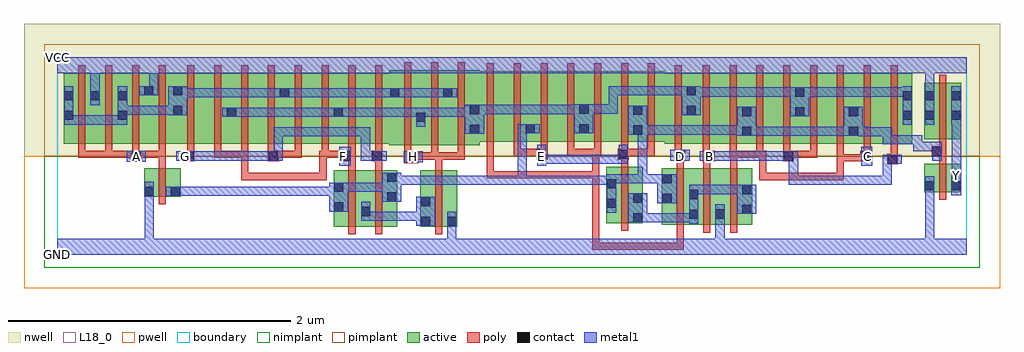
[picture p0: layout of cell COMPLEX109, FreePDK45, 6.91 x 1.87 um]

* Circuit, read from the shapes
.subckt COMPLEX109 A B C D E F G GND H VCC Y
M1 n1 A GND VSUBS nfet w=0.2u l=0.05u
M2 n2 F n1 VSUBS nfet w=0.4u l=0.05u
M3 n1 G n2 VSUBS nfet w=0.4u l=0.05u
M4 GND H n2 VSUBS nfet w=0.4u l=0.05u
M5 n3 E n1 VSUBS nfet w=0.4u l=0.05u
M6 n3 D n1 VSUBS nfet w=0.4u l=0.05u
M7 GND B n3 VSUBS nfet w=0.4u l=0.05u
M8 n3 C GND VSUBS nfet w=0.4u l=0.05u
M9 Y n1 GND VSUBS nfet w=0.2u l=0.05u
M10 VCC A n4 n5 pfet w=0.5u l=0.05u m=4
M11 n6 G n4 n5 pfet w=0.5u l=0.05u
M12 n7 F n6 n5 pfet w=0.5u l=0.05u
M13 n8 F n7 n5 pfet w=0.5u l=0.05u
M14 n4 G n8 n5 pfet w=0.5u l=0.05u
M15 n9 G n4 n5 pfet w=0.5u l=0.05u
M16 n7 F n9 n5 pfet w=0.5u l=0.05u
M17 n10 F n7 n5 pfet w=0.5u l=0.05u
M18 n4 G n10 n5 pfet w=0.5u l=0.05u
M19 n7 H n4 n5 pfet w=0.532u l=0.05u m=3
M20 n11 D n7 n5 pfet w=0.5u l=0.05u
M21 n1 E n11 n5 pfet w=0.5u l=0.05u
M22 n12 E n1 n5 pfet w=0.5u l=0.05u
M23 n7 D n12 n5 pfet w=0.5u l=0.05u
M24 n13 D n7 n5 pfet w=0.5u l=0.05u
M25 n1 E n13 n5 pfet w=0.5u l=0.05u
M26 n14 E n1 n5 pfet w=0.5u l=0.05u
M27 n7 D n14 n5 pfet w=0.5u l=0.05u
M28 n15 B n7 n5 pfet w=0.5u l=0.05u
M29 n1 C n15 n5 pfet w=0.5u l=0.05u
M30 n16 C n1 n5 pfet w=0.5u l=0.05u
M31 n7 B n16 n5 pfet w=0.5u l=0.05u
M32 n17 B n7 n5 pfet w=0.5u l=0.05u
M33 n1 C n17 n5 pfet w=0.5u l=0.05u
M34 n18 C n1 n5 pfet w=0.5u l=0.05u
M35 n7 B n18 n5 pfet w=0.5u l=0.05u
M36 Y n1 VCC n5 pfet w=0.4u l=0.05u
.ends

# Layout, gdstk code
import gdstk
lib = gdstk.Library(unit=1e-6, precision=1e-09)
def R(c, l, rs):  # rectangles x0, y0, x1, y1
    for r in rs: c.add(gdstk.rectangle(r[:2], r[2:], *l))
def A(c, l, x, y, w, h, nx, ny, dx, dy):  # array of equal rectangles
    R(c, l, [(x+i*dx, y+j*dy, x+i*dx+w, y+j*dy+h) for i in range(nx) for j in range(ny)])
active = (1, 0)
pwell = (2, 0)
nwell = (3, 0)
nimplant = (4, 0)
pimplant = (5, 0)
poly = (9, 0)
contact = (10, 0)
metal1 = (11, 0)
L18_0 = (18, 0)
boundary = (235, 0)

complex109 = lib.new_cell('COMPLEX109')
A(complex109, active, 5.07, 0.787, 0.225, 0.5, 3, 1, 0.38, 0)
A(complex109, active, 3.162, 0.8, 0.225, 0.5, 3, 1, 0.38, 0)
A(complex109, active, 3.312, 0.8, 0.23, 0.5, 3, 1, 0.38, 0)
R(complex109, active, [(1.957,0.2,2.032,0.6), (1.957,0.2,2.222,0.6), (2.147,0.2,2.407,0.6), (2.147,0.2,2.222,0.492), (2.572,0.2,2.832,0.6), (2.572,0.2,2.647,0.492), (2.757,0.2,2.832,0.6), (4.28,0.212,4.545,0.612), (4.47,0.212,4.73,0.612), (4.655,0.212,4.92,0.612), (4.655,0.212,4.73,0.492), (4.845,0.212,4.92,0.612), (3.887,0.225,3.962,0.625), (3.887,0.225,4.147,0.625), (4.072,0.225,4.147,0.625), (4.47,0.232,4.545,0.577), (2.332,0.245,2.407,0.6), (4.28,0.245,4.355,0.612), (0.615,0.412,0.69,0.612), (0.615,0.412,0.875,0.612), (0.8,0.412,0.875,0.612), (6.14,0.445,6.215,0.645), (6.14,0.445,6.4,0.645), (6.325,0.445,6.4,0.645), (2.352,0.775,2.612,1.307), (2.537,0.775,2.802,1.307), (2.537,0.775,2.612,1.07), (2.727,0.775,2.992,1.307), (2.727,0.775,2.802,1.2), (0.045,0.787,0.12,1.2), (0.045,0.787,0.305,1.287), (0.23,0.787,0.5,1.287), (0.425,0.787,0.685,1.287), (0.61,0.787,0.892,1.287), (0.817,0.787,1.042,1.287), (1.042,0.787,1.272,1.287), (1.197,0.787,1.422,1.287), (1.422,0.787,1.647,1.287), (1.572,0.787,1.802,1.287), (1.802,0.787,2.027,1.287), (1.952,0.787,2.182,1.287), (2.182,0.787,2.427,1.287), (4.302,0.787,4.527,1.287), (4.452,0.787,4.69,1.287), (4.69,0.787,4.92,1.287), (4.845,0.787,5.07,1.287), (5.22,0.787,5.45,1.287), (5.6,0.787,5.83,1.287), (5.98,0.787,6.055,1.2), (2.917,0.8,2.992,1.2), (2.917,0.8,3.162,1.3), (3.312,0.8,3.387,1.07), (3.692,0.8,3.767,1.2), (4.072,0.8,4.147,1.07), (1.952,0.802,2.027,1.07), (2.352,0.802,2.427,1.2), (0.23,0.807,0.305,1.255), (0.425,0.807,0.5,1.2), (0.61,0.807,0.685,1.287), (0.817,0.807,0.892,1.2), (1.197,0.807,1.272,1.07), (1.572,0.807,1.647,1.2), (4.452,0.807,4.527,1.2), (4.845,0.807,4.92,1.07), (5.22,0.807,5.295,1.2), (5.6,0.807,5.675,1.07), (6.14,0.82,6.215,1.22), (6.14,0.82,6.4,1.22), (6.325,0.82,6.4,1.2)])
R(complex109, pwell, [(-0.235,-0.235,6.675,0.7)])
R(complex109, nwell, [(-0.235,0.7,6.675,1.635)])
R(complex109, nimplant, [(-0.09,-0.09,6.53,0.7)])
R(complex109, pimplant, [(-0.09,0.7,6.53,1.49)])
A(complex109, poly, 4.385, 0.157, 0.05, 0.51, 3, 1, 0.19, 0)
A(complex109, poly, 2.457, 0.675, 0.05, 0.095, 3, 1, 0.19, 0)
A(complex109, poly, 0.15, 0.687, 0.05, 0.095, 4, 1, 0.19, 0)
A(complex109, poly, 0.922, 0.687, 0.05, 0.095, 8, 1, 0.19, 0)
A(complex109, poly, 4.57, 0.687, 0.05, 0.095, 5, 1, 0.19, 0)
A(complex109, poly, 3.232, 0.7, 0.05, 0.095, 6, 1, 0.19, 0)
A(complex109, poly, 2.457, 0.72, 0.05, 0.642, 3, 1, 0.19, 0)
A(complex109, poly, 0.15, 0.732, 0.05, 0.61, 4, 1, 0.19, 0)
A(complex109, poly, 0.922, 0.732, 0.05, 0.61, 8, 1, 0.19, 0)
A(complex109, poly, 4.57, 0.732, 0.05, 0.61, 8, 1, 0.19, 0)
A(complex109, poly, 3.042, 0.745, 0.05, 0.61, 7, 1, 0.19, 0)
R(complex109, poly, [(3.787,0.037,3.837,0.087), (3.787,0.037,3.837,0.087), (3.787,0.037,3.837,0.087), (3.787,0.037,4.045,0.087), (3.787,0.037,3.837,0.592), (3.995,0.037,4.045,0.087), (3.995,0.037,4.045,0.087), (3.995,0.037,4.045,0.087), (3.995,0.037,4.177,0.087), (4.127,0.037,4.177,0.087), (4.127,0.037,4.177,0.087), (4.127,0.037,4.177,0.087), (4.127,0.037,4.435,0.087), (4.385,0.037,4.435,0.087), (4.385,0.037,4.435,0.087), (4.385,0.037,4.435,0.087), (4.385,0.037,4.435,0.207), (2.062,0.145,2.112,0.655), (2.252,0.145,2.302,0.655), (2.677,0.145,2.727,0.655), (3.992,0.17,4.042,0.68), (0.72,0.357,0.77,0.667), (6.245,0.39,6.295,0.7), (1.302,0.53,1.352,0.58), (1.302,0.53,1.352,0.58), (1.302,0.53,1.352,0.58), (1.302,0.53,1.352,0.58), (1.302,0.53,1.352,0.58), (1.302,0.53,1.352,0.737), (1.302,0.53,1.567,0.58), (1.517,0.53,1.567,0.58), (1.517,0.53,1.7,0.58), (1.65,0.53,1.7,0.58), (1.65,0.53,1.7,0.58), (1.65,0.53,1.7,0.58), (1.65,0.53,1.907,0.58), (1.857,0.53,1.907,0.58), (1.857,0.53,1.907,0.58), (1.857,0.53,1.907,0.58), (1.857,0.53,1.907,0.737), (4.97,0.53,5.02,0.58), (4.97,0.53,5.02,0.58), (4.97,0.53,5.02,0.58), (4.97,0.53,5.247,0.58), (4.97,0.53,5.02,0.737), (5.197,0.53,5.247,0.58), (5.197,0.53,5.247,0.58), (5.197,0.53,5.247,0.58), (5.197,0.53,5.38,0.58), (5.33,0.53,5.38,0.58), (5.33,0.53,5.57,0.58), (5.52,0.53,5.57,0.58), (5.52,0.53,5.57,0.58), (5.52,0.53,5.57,0.58), (5.52,0.53,5.57,0.58), (5.52,0.53,5.57,0.58), (5.52,0.53,5.57,0.712), (3.042,0.542,3.092,0.592), (3.042,0.542,3.092,0.592), (3.042,0.542,3.092,0.592), (3.042,0.542,3.092,0.592), (3.042,0.542,3.092,0.592), (3.042,0.542,3.225,0.592), (3.042,0.542,3.092,0.795), (3.175,0.542,3.225,0.592), (3.175,0.542,3.225,0.592), (3.175,0.542,3.225,0.592), (3.175,0.542,3.53,0.592), (3.48,0.542,3.53,0.592), (3.48,0.542,3.53,0.592), (3.48,0.542,3.53,0.592), (3.48,0.542,3.662,0.592), (3.612,0.542,3.662,0.592), (3.612,0.542,3.662,0.592), (3.612,0.542,3.662,0.592), (3.612,0.542,3.837,0.592), (3.787,0.542,3.837,0.592), (3.787,0.542,3.837,0.592), (3.787,0.542,3.837,0.592), (3.787,0.542,3.837,0.592), (3.787,0.542,3.837,0.592), (3.787,0.542,3.837,0.75), (2.062,0.605,2.112,0.712), (2.252,0.605,2.302,0.712), (2.677,0.605,2.727,0.725), (0.72,0.617,0.77,0.737), (4.385,0.617,4.435,0.712), (4.575,0.617,4.625,0.712), (4.765,0.617,4.815,0.737), (3.992,0.63,4.042,0.725), (5.875,0.64,5.95,0.715), (2.457,0.65,2.557,0.725), (6.245,0.65,6.295,0.745), (0.522,0.662,0.597,0.737), (0.897,0.662,0.972,0.737), (1.492,0.662,1.567,0.737), (2.007,0.662,2.112,0.737), (2.227,0.662,2.302,0.737), (4.372,0.662,4.447,0.737), (4.57,0.662,4.655,0.737), (5.14,0.662,5.215,0.737), (5.52,0.662,5.57,0.712), (5.52,0.662,5.737,0.712), (5.52,0.662,5.57,0.782), (5.687,0.662,5.762,0.737), (5.687,0.662,5.737,0.712), (5.687,0.662,5.737,0.712), (5.9,0.665,5.95,0.782), (2.507,0.675,2.697,0.725), (2.647,0.675,2.697,0.725), (2.647,0.675,2.697,0.725), (2.647,0.675,2.727,0.725), (2.677,0.675,2.887,0.725), (2.837,0.675,2.887,0.725), (2.837,0.675,2.887,0.725), (2.837,0.675,2.887,0.725), (3.392,0.675,3.472,0.75), (3.97,0.675,4.045,0.75), (0.15,0.687,0.2,0.737), (0.15,0.687,0.2,0.737), (0.15,0.687,0.2,0.737), (0.15,0.687,0.39,0.737), (0.34,0.687,0.39,0.737), (0.34,0.687,0.39,0.737), (0.34,0.687,0.39,0.737), (0.34,0.687,0.572,0.737), (0.547,0.687,0.77,0.737), (0.72,0.687,0.77,0.737), (0.72,0.687,0.77,0.737), (0.72,0.687,0.77,0.737), (1.112,0.687,1.162,0.737), (1.112,0.687,1.162,0.737), (1.112,0.687,1.162,0.737), (1.112,0.687,1.352,0.737), (1.302,0.687,1.352,0.737), (1.517,0.687,1.567,0.737), (1.517,0.687,1.567,0.737), (1.517,0.687,1.732,0.737), (1.682,0.687,1.732,0.737), (1.857,0.687,1.907,0.737), (1.857,0.687,1.907,0.737), (1.857,0.687,1.922,0.737), (1.872,0.687,2.057,0.737), (2.007,0.687,2.057,0.737), (2.007,0.687,2.057,0.737), (4.372,0.687,4.422,0.782), (4.76,0.687,4.815,0.737), (4.765,0.687,4.815,0.737), (4.765,0.687,4.815,0.737), (4.765,0.687,5,0.737), (4.95,0.687,5,0.737), (4.95,0.687,5,0.737), (4.95,0.687,5.02,0.737), (5.165,0.687,5.38,0.737), (5.33,0.687,5.38,0.737), (5.33,0.687,5.38,0.737), (5.33,0.687,5.38,0.737), (5.71,0.687,5.76,0.782), (6.192,0.695,6.295,0.77), (3.232,0.7,3.282,0.75), (3.232,0.7,3.442,0.75), (3.392,0.7,3.442,0.75), (3.392,0.7,3.442,0.75), (3.612,0.7,3.662,0.75), (3.612,0.7,3.837,0.75), (3.787,0.7,3.837,0.75), (3.787,0.7,3.837,0.75), (3.787,0.7,3.837,0.75), (3.787,0.7,3.837,0.75), (3.787,0.7,3.852,0.75), (3.995,0.7,4.232,0.75), (4.182,0.7,4.232,0.75), (4.182,0.7,4.232,0.75), (4.182,0.7,4.232,0.75), (6.245,0.72,6.295,0.815), (4.372,0.732,4.422,1.342), (6.245,0.765,6.295,1.275)])
R(complex109, contact, [(2.577,0.205,2.642,0.27), (2.762,0.205,2.827,0.27), (4.077,0.23,4.142,0.295), (4.475,0.255,4.54,0.32), (4.66,0.257,4.725,0.322), (2.152,0.275,2.217,0.34), (4.85,0.29,4.915,0.355), (1.962,0.307,2.027,0.372), (3.892,0.332,3.957,0.397), (2.577,0.345,2.642,0.41), (4.285,0.367,4.35,0.432), (4.077,0.37,4.142,0.435), (2.337,0.377,2.402,0.442), (4.475,0.395,4.54,0.46), (0.62,0.417,0.685,0.482), (0.805,0.417,0.87,0.482), (4.85,0.43,4.915,0.495), (1.962,0.447,2.027,0.512), (6.145,0.457,6.21,0.522), (6.33,0.457,6.395,0.522), (3.892,0.472,3.957,0.537), (4.285,0.507,4.35,0.572), (2.337,0.517,2.402,0.582), (5.88,0.645,5.945,0.71), (2.487,0.655,2.552,0.72), (0.527,0.667,0.592,0.732), (0.902,0.667,0.967,0.732), (1.497,0.667,1.562,0.732), (2.012,0.667,2.077,0.732), (2.232,0.667,2.297,0.732), (4.377,0.667,4.442,0.732), (4.585,0.667,4.65,0.732), (5.145,0.667,5.21,0.732), (5.692,0.667,5.757,0.732), (3.397,0.68,3.462,0.745), (3.975,0.68,4.04,0.745), (6.197,0.7,6.262,0.765), (4.85,0.842,4.915,0.907), (5.605,0.842,5.67,0.907), (4.077,0.852,4.142,0.917), (2.922,0.857,2.987,0.922), (3.317,0.86,3.382,0.925), (3.697,0.86,3.762,0.925), (2.542,0.942,2.607,1.007), (0.05,0.955,0.115,1.02), (0.43,0.955,0.495,1.02), (5.985,0.955,6.05,1.02), (6.145,0.955,6.21,1.02), (6.33,0.955,6.395,1.02), (1.202,0.977,1.267,1.042), (1.957,0.977,2.022,1.042), (5.225,0.98,5.29,1.045), (4.85,0.982,4.915,1.047), (5.605,0.982,5.67,1.047), (0.822,0.99,0.887,1.055), (4.457,0.99,4.522,1.055), (4.077,0.992,4.142,1.057), (2.922,0.997,2.987,1.062), (3.697,1,3.762,1.065), (0.05,1.095,0.115,1.16), (0.235,1.095,0.3,1.16), (0.43,1.095,0.495,1.16), (5.985,1.095,6.05,1.16), (6.145,1.095,6.21,1.16), (6.33,1.095,6.395,1.16), (1.577,1.115,1.642,1.18), (2.357,1.115,2.422,1.18), (2.732,1.115,2.797,1.18), (5.225,1.12,5.29,1.185), (0.615,1.13,0.68,1.195), (0.822,1.13,0.887,1.195), (4.457,1.13,4.522,1.195)])
R(complex109, metal1, [(0,0,6.44,0.115), (0.62,0.05,0.685,0.115), (0.62,0.05,0.685,0.115), (0.62,0.05,0.685,0.115), (0.62,0.05,0.685,0.115), (0.62,0.05,0.685,0.447), (2.762,0.05,2.827,0.115), (2.762,0.05,2.827,0.115), (2.762,0.05,2.827,0.235), (4.66,0.05,4.725,0.287), (6.145,0.05,6.21,0.487), (2.762,0.17,2.827,0.305), (2.542,0.205,2.677,0.41), (4.475,0.22,4.54,0.495), (4.66,0.222,4.725,0.287), (4.66,0.222,4.725,0.287), (4.66,0.222,4.725,0.357), (4.042,0.23,4.177,0.435), (4.112,0.23,4.177,0.295), (4.112,0.23,4.177,0.295), (4.112,0.23,4.35,0.295), (4.285,0.23,4.35,0.295), (4.285,0.23,4.35,0.295), (4.285,0.23,4.35,0.295), (4.285,0.23,4.54,0.295), (2.152,0.24,2.217,0.375), (2.152,0.24,2.25,0.305), (2.185,0.24,2.25,0.305), (2.185,0.24,2.407,0.305), (2.342,0.24,2.407,0.305), (2.342,0.24,2.607,0.305), (2.542,0.24,2.607,0.305), (2.542,0.24,2.607,0.305), (4.815,0.29,4.95,0.495), (3.892,0.297,3.957,0.572), (1.927,0.307,2.062,0.512), (4.25,0.367,4.385,0.572), (2.302,0.377,2.437,0.582), (0.62,0.382,0.685,0.447), (0.62,0.382,0.685,0.447), (0.62,0.382,0.685,0.517), (0.77,0.417,0.905,0.482), (0.84,0.417,0.905,0.482), (0.84,0.417,0.905,0.482), (0.84,0.417,1.06,0.482), (0.995,0.417,1.06,0.482), (0.995,0.417,1.165,0.482), (1.1,0.417,1.165,0.482), (1.1,0.417,1.302,0.482), (1.237,0.417,1.302,0.482), (1.237,0.417,1.302,0.482), (1.237,0.417,1.302,0.482), (1.237,0.417,1.46,0.482), (1.395,0.417,1.46,0.482), (1.395,0.417,1.597,0.482), (1.532,0.417,1.597,0.482), (1.532,0.417,1.597,0.482), (1.532,0.417,1.597,0.482), (1.532,0.417,1.787,0.482), (1.722,0.417,1.787,0.482), (1.722,0.417,1.815,0.482), (1.75,0.417,1.815,0.482), (1.75,0.417,1.925,0.482), (1.86,0.417,1.925,0.482), (1.86,0.417,1.992,0.482), (6.145,0.422,6.21,0.487), (6.145,0.422,6.21,0.487), (6.145,0.422,6.21,0.487), (6.145,0.422,6.21,0.487), (6.145,0.422,6.21,0.487), (6.145,0.422,6.21,0.487), (6.145,0.422,6.21,0.557), (6.33,0.422,6.4,0.557), (4.475,0.43,4.54,0.495), (4.475,0.43,4.54,0.495), (4.475,0.43,4.742,0.495), (4.677,0.43,4.742,0.495), (4.677,0.43,4.742,0.495), (4.677,0.43,4.742,0.495), (4.677,0.43,4.88,0.495), (4.815,0.43,4.88,0.495), (4.815,0.43,4.88,0.495), (1.997,0.447,2.062,0.512), (1.997,0.447,2.062,0.512), (1.997,0.447,2.222,0.512), (2.157,0.447,2.222,0.512), (2.157,0.447,2.222,0.512), (2.157,0.447,2.222,0.512), (2.157,0.447,2.367,0.512), (6.335,0.492,6.4,0.557), (6.335,0.492,6.402,0.627), (2.372,0.495,2.437,0.56), (2.372,0.495,2.437,0.56), (2.372,0.495,2.607,0.56), (2.542,0.495,2.607,0.56), (2.542,0.495,2.747,0.56), (2.682,0.495,2.747,0.56), (2.682,0.495,2.747,0.56), (2.682,0.495,2.747,0.56), (2.682,0.495,2.885,0.56), (2.82,0.495,2.885,0.56), (2.82,0.495,2.885,0.56), (2.82,0.495,2.885,0.56), (2.82,0.495,3.022,0.56), (2.957,0.495,3.022,0.56), (2.957,0.495,3.187,0.56), (3.122,0.495,3.187,0.56), (3.122,0.495,3.187,0.56), (3.122,0.495,3.187,0.56), (3.122,0.495,3.325,0.56), (3.26,0.495,3.325,0.56), (3.26,0.495,3.325,0.56), (3.26,0.495,3.325,0.56), (3.26,0.495,3.325,0.56), (3.26,0.495,3.325,0.56), (3.26,0.495,3.325,0.56), (3.26,0.495,3.325,0.56), (3.26,0.495,3.562,0.56), (3.26,0.495,3.325,0.925), (3.497,0.495,3.562,0.56), (3.497,0.495,3.66,0.56), (3.595,0.495,3.66,0.56), (3.595,0.495,3.82,0.56), (3.755,0.495,3.82,0.56), (3.755,0.495,3.82,0.56), (3.755,0.495,3.82,0.56), (3.755,0.495,3.957,0.56), (5.18,0.495,5.245,0.56), (5.18,0.495,5.462,0.56), (5.18,0.495,5.245,0.732), (5.397,0.495,5.462,0.56), (5.397,0.495,5.462,0.56), (5.397,0.495,5.462,0.56), (5.397,0.495,5.6,0.56), (5.535,0.495,5.6,0.56), (5.535,0.495,5.6,0.56), (5.535,0.495,5.6,0.56), (5.535,0.495,5.772,0.56), (5.707,0.495,5.772,0.56), (5.707,0.495,5.91,0.56), (5.845,0.495,5.91,0.56), (5.845,0.495,5.91,0.71), (3.892,0.507,4.04,0.572), (3.975,0.507,4.04,0.572), (3.975,0.507,4.177,0.572), (4.112,0.507,4.177,0.572), (4.112,0.507,4.177,0.572), (4.112,0.507,4.177,0.572), (4.112,0.507,4.177,0.572), (4.112,0.507,4.177,0.572), (4.112,0.507,4.315,0.572), (4.112,0.507,4.177,0.917), (6.335,0.562,6.4,0.985), (1.997,0.632,2.077,0.767), (3.397,0.632,3.462,0.78), (5.692,0.632,5.772,0.767), (3.397,0.645,3.462,0.71), (3.397,0.645,3.462,0.71), (3.397,0.645,3.6,0.71), (3.535,0.645,3.6,0.71), (3.535,0.645,3.82,0.71), (3.755,0.645,3.82,0.71), (3.755,0.645,3.82,0.71), (3.755,0.645,3.82,0.71), (3.755,0.645,3.97,0.71), (3.905,0.645,3.97,0.71), (3.905,0.645,4.04,0.71), (3.975,0.645,4.04,0.78), (5.845,0.645,5.91,0.71), (5.845,0.645,5.91,0.71), (5.845,0.645,5.98,0.71), (2.452,0.655,2.587,0.732), (0.492,0.66,0.627,0.737), (6.197,0.665,6.262,0.8), (0.842,0.667,1.002,0.732), (0.937,0.667,1.095,0.732), (1.03,0.667,1.095,0.732), (1.03,0.667,1.165,0.732), (1.1,0.667,1.165,0.732), (1.1,0.667,1.302,0.732), (1.237,0.667,1.302,0.732), (1.237,0.667,1.302,0.732), (1.237,0.667,1.302,0.732), (1.237,0.667,1.44,0.732), (1.375,0.667,1.44,0.732), (1.375,0.667,1.527,0.732), (1.462,0.667,1.597,0.732), (1.532,0.667,1.597,0.732), (1.532,0.667,1.597,0.732), (1.532,0.667,1.597,0.905), (2.15,0.667,2.215,0.732), (2.15,0.667,2.262,0.732), (2.15,0.667,2.215,0.905), (2.197,0.667,2.332,0.732), (4.342,0.667,4.477,0.745), (4.55,0.667,4.687,0.732), (4.622,0.667,4.695,0.732), (4.63,0.667,4.695,0.732), (4.63,0.667,4.88,0.732), (4.815,0.667,4.88,0.732), (4.815,0.667,4.88,0.732), (4.815,0.667,4.88,0.732), (4.815,0.667,5.037,0.732), (4.972,0.667,5.037,0.732), (4.972,0.667,5.087,0.732), (5.022,0.667,5.087,0.732), (5.022,0.667,5.175,0.732), (5.11,0.667,5.245,0.732), (5.18,0.667,5.245,0.732), (5.18,0.667,5.245,0.732), (6.06,0.735,6.125,0.8), (6.06,0.735,6.262,0.8), (6.06,0.735,6.125,0.847), (5.845,0.782,6.125,0.847), (5.845,0.782,5.91,0.905), (6.06,0.782,6.125,0.847), (6.06,0.782,6.125,0.847), (6.06,0.782,6.125,0.847), (1.532,0.84,1.597,0.905), (1.532,0.84,1.787,0.905), (1.722,0.84,1.787,0.905), (1.722,0.84,1.815,0.905), (1.75,0.84,1.815,0.905), (1.75,0.84,1.925,0.905), (1.86,0.84,1.925,0.905), (1.86,0.84,2.062,0.905), (1.997,0.84,2.062,0.905), (1.997,0.84,2.062,0.905), (1.997,0.84,2.062,0.905), (1.997,0.84,2.215,0.905), (2.15,0.84,2.215,0.905), (5.672,0.84,5.91,0.905), (5.672,0.84,5.737,0.907), (5.845,0.84,5.91,0.905), (5.845,0.84,5.91,0.905), (4.815,0.842,4.95,1.047), (4.885,0.842,5.017,0.907), (4.952,0.842,5.017,0.907), (4.952,0.842,5.087,0.907), (5.022,0.842,5.087,0.907), (5.022,0.842,5.225,0.907), (5.16,0.842,5.225,0.907), (5.16,0.842,5.225,0.907), (5.16,0.842,5.225,0.907), (5.16,0.842,5.462,0.907), (5.397,0.842,5.462,0.907), (5.397,0.842,5.462,0.907), (5.397,0.842,5.462,0.907), (5.397,0.842,5.6,0.907), (5.535,0.842,5.6,0.907), (5.535,0.842,5.635,0.907), (5.57,0.842,5.705,1.047), (5.64,0.842,5.737,0.907), (4.042,0.852,4.177,1.057), (4.112,0.852,4.177,0.917), (4.112,0.852,4.177,0.917), (4.112,0.852,4.177,0.917), (4.112,0.852,4.177,0.917), (4.112,0.852,4.315,0.917), (4.25,0.852,4.315,0.917), (4.25,0.852,4.315,0.917), (4.25,0.852,4.315,0.917), (4.25,0.852,4.487,0.917), (4.422,0.852,4.487,0.917), (4.422,0.852,4.487,0.917), (4.422,0.852,4.487,0.917), (4.422,0.852,4.695,0.917), (4.63,0.852,4.695,0.917), (4.63,0.852,4.88,0.917), (4.815,0.852,4.88,0.917), (4.815,0.852,4.88,0.917), (2.887,0.857,3.022,1.062), (3.26,0.86,3.417,0.925), (3.662,0.86,3.797,1.065), (2.542,0.907,2.607,1.042), (0.05,0.92,0.115,1.195), (0.43,0.92,0.495,1.195), (5.985,0.92,6.05,1.195), (6.145,0.92,6.21,1.195), (6.33,0.92,6.4,1.195), (0.05,0.922,0.115,0.987), (0.05,0.922,0.115,0.987), (0.05,0.922,0.357,0.987), (0.292,0.922,0.357,0.987), (0.292,0.922,0.357,0.987), (0.292,0.922,0.357,0.987), (0.292,0.922,0.495,0.987), (1.167,0.977,1.302,1.042), (1.237,0.977,1.302,1.042), (1.237,0.977,1.302,1.042), (1.237,0.977,1.44,1.042), (1.375,0.977,1.44,1.042), (1.375,0.977,1.44,1.042), (1.375,0.977,1.44,1.042), (1.375,0.977,1.597,1.042), (1.532,0.977,1.597,1.042), (1.532,0.977,1.787,1.042), (1.722,0.977,1.787,1.042), (1.722,0.977,1.815,1.042), (1.75,0.977,1.815,1.042), (1.75,0.977,1.925,1.042), (1.86,0.977,1.925,1.042), (1.86,0.977,1.987,1.042), (1.922,0.977,2.057,1.042), (1.992,0.977,2.085,1.042), (2.02,0.977,2.085,1.042), (2.02,0.977,2.2,1.042), (2.135,0.977,2.2,1.042), (2.135,0.977,2.3,1.042), (2.235,0.977,2.3,1.042), (2.235,0.977,2.47,1.042), (2.405,0.977,2.47,1.042), (2.405,0.977,2.47,1.042), (2.405,0.977,2.47,1.042), (2.405,0.977,2.607,1.042), (2.542,0.977,2.745,1.042), (2.68,0.977,2.745,1.042), (2.68,0.977,2.745,1.042), (2.68,0.977,2.745,1.042), (2.68,0.977,2.885,1.042), (2.82,0.977,2.885,1.042), (2.82,0.977,2.952,1.042), (5.19,0.98,5.325,1.185), (0.787,0.99,0.922,1.195), (4.422,0.99,4.557,1.195), (0.43,0.992,0.495,1.057), (0.43,0.992,0.495,1.057), (0.43,0.992,0.697,1.057), (0.632,0.992,0.697,1.057), (0.632,0.992,0.697,1.057), (0.632,0.992,0.697,1.057), (0.632,0.992,0.852,1.057), (2.957,0.997,3.022,1.062), (2.957,0.997,3.022,1.062), (2.957,0.997,3.022,1.062), (2.957,0.997,3.022,1.062), (2.957,0.997,3.16,1.062), (3.095,0.997,3.16,1.062), (3.095,0.997,3.16,1.062), (3.095,0.997,3.16,1.062), (3.095,0.997,3.325,1.062), (3.26,0.997,3.325,1.062), (3.26,0.997,3.325,1.062), (3.26,0.997,3.325,1.062), (3.26,0.997,3.462,1.062), (3.397,0.997,3.462,1.062), (3.397,0.997,3.6,1.062), (3.535,0.997,3.6,1.062), (3.535,0.997,3.727,1.062), (3.732,1,3.797,1.065), (3.732,1,3.797,1.065), (3.732,1,3.97,1.065), (3.905,1,3.97,1.195), (0.235,1.06,0.3,1.195), (0.857,1.115,0.922,1.18), (0.857,1.115,0.922,1.18), (0.857,1.115,1.06,1.18), (0.995,1.115,1.06,1.18), (0.995,1.115,1.14,1.18), (1.075,1.115,1.14,1.18), (1.075,1.115,1.302,1.18), (1.237,1.115,1.302,1.18), (1.237,1.115,1.302,1.18), (1.237,1.115,1.302,1.18), (1.237,1.115,1.46,1.18), (1.395,1.115,1.46,1.18), (1.395,1.115,1.607,1.18), (1.542,1.115,1.607,1.18), (1.542,1.115,1.607,1.18), (1.542,1.115,1.677,1.18), (1.612,1.115,1.745,1.18), (1.68,1.115,1.745,1.18), (1.68,1.115,1.815,1.18), (1.75,1.115,1.815,1.18), (1.75,1.115,1.925,1.18), (1.86,1.115,1.925,1.18), (1.86,1.115,1.952,1.18), (1.887,1.115,1.952,1.18), (1.887,1.115,2.085,1.18), (2.02,1.115,2.085,1.18), (2.02,1.115,2.222,1.18), (2.157,1.115,2.222,1.18), (2.157,1.115,2.222,1.18), (2.157,1.115,2.222,1.18), (2.157,1.115,2.387,1.18), (2.322,1.115,2.457,1.18), (2.392,1.115,2.607,1.18), (2.542,1.115,2.607,1.18), (2.542,1.115,2.607,1.18), (2.542,1.115,2.607,1.18), (2.542,1.115,2.745,1.18), (2.68,1.115,2.745,1.18), (2.68,1.115,2.762,1.18), (2.697,1.115,2.832,1.18), (4.492,1.12,4.557,1.185), (4.492,1.12,4.557,1.185), (4.492,1.12,4.695,1.185), (4.63,1.12,4.695,1.185), (4.63,1.12,4.88,1.185), (4.815,1.12,4.88,1.185), (4.815,1.12,4.88,1.185), (4.815,1.12,4.88,1.185), (4.815,1.12,5.017,1.185), (4.952,1.12,5.017,1.185), (4.952,1.12,5.087,1.185), (5.022,1.12,5.087,1.185), (5.022,1.12,5.255,1.185), (5.19,1.12,5.255,1.185), (5.19,1.12,5.255,1.185), (5.26,1.12,5.462,1.185), (5.397,1.12,5.462,1.185), (5.397,1.12,5.462,1.185), (5.397,1.12,5.462,1.185), (5.397,1.12,5.6,1.185), (5.535,1.12,5.6,1.185), (5.535,1.12,5.6,1.185), (5.535,1.12,5.6,1.185), (5.535,1.12,5.772,1.185), (5.707,1.12,5.772,1.185), (5.707,1.12,5.91,1.185), (5.845,1.12,5.91,1.185), (5.845,1.12,5.91,1.185), (5.845,1.12,5.91,1.185), (5.845,1.12,6.05,1.185), (0.235,1.13,0.3,1.35), (0.58,1.13,0.715,1.195), (0.65,1.13,0.715,1.35), (3.905,1.13,3.97,1.195), (3.905,1.13,3.97,1.195), (3.905,1.13,4.177,1.195), (4.112,1.13,4.177,1.195), (4.112,1.13,4.177,1.195), (4.112,1.13,4.177,1.195), (4.112,1.13,4.315,1.195), (4.25,1.13,4.315,1.195), (4.25,1.13,4.315,1.195), (4.25,1.13,4.315,1.195), (4.25,1.13,4.487,1.195), (6.145,1.13,6.21,1.35), (0,1.285,6.44,1.4)])
R(complex109, L18_0, [(0,0,6.44,0.115), (0.62,0.05,0.685,0.115), (0.62,0.05,0.685,0.115), (0.62,0.05,0.685,0.115), (0.62,0.05,0.685,0.115), (0.62,0.05,0.685,0.447), (2.762,0.05,2.827,0.115), (2.762,0.05,2.827,0.115), (2.762,0.05,2.827,0.235), (4.66,0.05,4.725,0.287), (6.145,0.05,6.21,0.487), (2.762,0.17,2.827,0.305), (4.66,0.222,4.725,0.357), (4.66,0.222,4.725,0.287), (4.66,0.222,4.725,0.287), (0.62,0.382,0.685,0.517), (0.62,0.382,0.685,0.447), (0.62,0.382,0.685,0.447), (6.145,0.422,6.21,0.557), (6.145,0.422,6.21,0.487), (6.145,0.422,6.21,0.487), (6.145,0.422,6.21,0.487), (6.145,0.422,6.21,0.487), (6.145,0.422,6.21,0.487), (6.145,0.422,6.21,0.487), (6.33,0.422,6.4,0.557), (6.335,0.492,6.4,0.557), (6.335,0.492,6.402,0.627), (5.18,0.495,5.245,0.56), (5.18,0.495,5.245,0.732), (5.18,0.495,5.462,0.56), (5.397,0.495,5.462,0.56), (5.397,0.495,5.462,0.56), (5.397,0.495,5.462,0.56), (5.397,0.495,5.6,0.56), (5.535,0.495,5.6,0.56), (5.535,0.495,5.6,0.56), (5.535,0.495,5.6,0.56), (5.535,0.495,5.772,0.56), (5.707,0.495,5.772,0.56), (5.707,0.495,5.91,0.56), (5.845,0.495,5.91,0.56), (5.845,0.495,5.91,0.71), (6.337,0.527,6.402,0.592), (6.335,0.562,6.4,0.985), (1.997,0.632,2.077,0.767), (3.397,0.632,3.462,0.78), (5.692,0.632,5.772,0.767), (3.397,0.645,3.462,0.71), (3.397,0.645,3.462,0.71), (3.397,0.645,3.6,0.71), (3.535,0.645,3.6,0.71), (3.535,0.645,3.82,0.71), (3.755,0.645,3.82,0.71), (3.755,0.645,3.82,0.71), (3.755,0.645,3.82,0.71), (3.755,0.645,3.97,0.71), (3.905,0.645,3.97,0.71), (3.905,0.645,4.04,0.71), (3.975,0.645,4.04,0.78), (5.845,0.645,5.91,0.71), (5.845,0.645,5.91,0.71), (5.845,0.645,5.98,0.71), (2.452,0.655,2.587,0.732), (0.492,0.66,0.627,0.737), (0.527,0.667,0.592,0.732), (0.842,0.667,1.002,0.732), (0.877,0.667,0.942,0.732), (0.937,0.667,1.095,0.732), (1.03,0.667,1.095,0.732), (1.03,0.667,1.165,0.732), (1.1,0.667,1.165,0.732), (1.1,0.667,1.302,0.732), (1.237,0.667,1.302,0.732), (1.237,0.667,1.302,0.732), (1.237,0.667,1.302,0.732), (1.237,0.667,1.44,0.732), (1.375,0.667,1.44,0.732), (1.375,0.667,1.527,0.732), (1.462,0.667,1.597,0.732), (1.532,0.667,1.597,0.732), (1.532,0.667,1.597,0.732), (1.532,0.667,1.597,0.905), (1.997,0.667,2.062,0.732), (2.15,0.667,2.215,0.732), (2.15,0.667,2.215,0.905), (2.15,0.667,2.262,0.732), (2.197,0.667,2.332,0.732), (2.487,0.667,2.552,0.732), (3.397,0.667,3.462,0.732), (4.342,0.667,4.477,0.745), (4.377,0.667,4.442,0.732), (4.55,0.667,4.687,0.732), (4.587,0.667,4.652,0.732), (4.622,0.667,4.695,0.732), (4.63,0.667,4.695,0.732), (4.63,0.667,4.88,0.732), (4.815,0.667,4.88,0.732), (4.815,0.667,4.88,0.732), (4.815,0.667,4.88,0.732), (4.815,0.667,5.037,0.732), (4.972,0.667,5.037,0.732), (4.972,0.667,5.087,0.732), (5.022,0.667,5.087,0.732), (5.022,0.667,5.175,0.732), (5.11,0.667,5.245,0.732), (5.18,0.667,5.245,0.732), (5.18,0.667,5.245,0.732), (5.707,0.667,5.772,0.732), (1.532,0.84,1.597,0.905), (1.532,0.84,1.787,0.905), (1.722,0.84,1.787,0.905), (1.722,0.84,1.815,0.905), (1.75,0.84,1.815,0.905), (1.75,0.84,1.925,0.905), (1.86,0.84,1.925,0.905), (1.86,0.84,2.062,0.905), (1.997,0.84,2.062,0.905), (1.997,0.84,2.062,0.905), (1.997,0.84,2.062,0.905), (1.997,0.84,2.215,0.905), (2.15,0.84,2.215,0.905), (6.145,0.92,6.21,1.195), (6.33,0.92,6.4,1.195), (0.235,1.06,0.3,1.195), (0.235,1.13,0.3,1.35), (0.58,1.13,0.715,1.195), (0.65,1.13,0.715,1.35), (6.145,1.13,6.21,1.35), (0,1.285,6.44,1.4)])
R(complex109, boundary, [(0,0,6.44,1.4)])
complex109.add(gdstk.Label('A', (0.56,0.7), layer=11, texttype=0))
complex109.add(gdstk.Label('B', (4.62,0.7), layer=11, texttype=0))
complex109.add(gdstk.Label('C', (5.74,0.7), layer=11, texttype=0))
complex109.add(gdstk.Label('D', (4.41,0.7), layer=11, texttype=0))
complex109.add(gdstk.Label('E', (3.43,0.7), layer=11, texttype=0))
complex109.add(gdstk.Label('F', (2.03,0.7), layer=11, texttype=0))
complex109.add(gdstk.Label('G', (0.91,0.7), layer=11, texttype=0))
complex109.add(gdstk.Label('H', (2.52,0.7), layer=11, texttype=0))
complex109.add(gdstk.Label('Y', (6.37,0.56), layer=11, texttype=0))
complex109.add(gdstk.Label('VCC', (0,1.4), layer=11, texttype=0))
complex109.add(gdstk.Label('GND', (0,0), layer=11, texttype=0))

lib.write_gds('COMPLEX109.gds')
